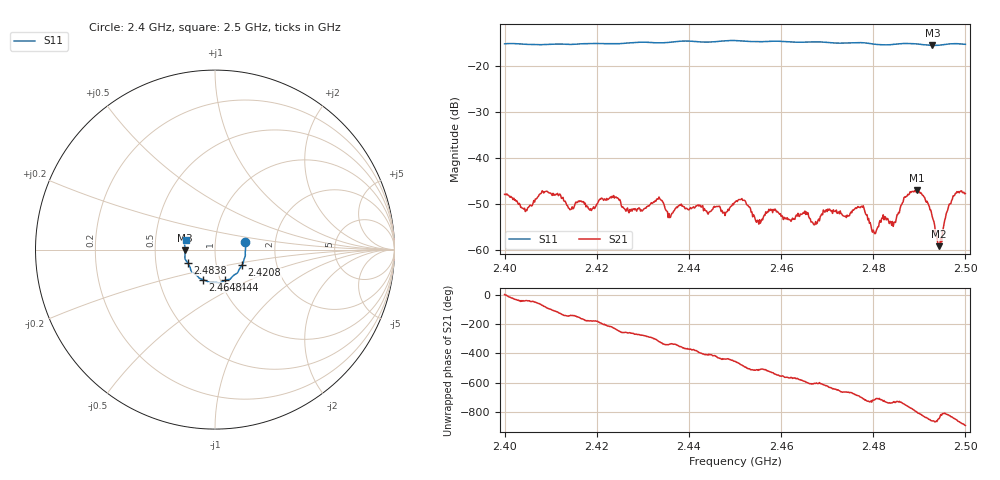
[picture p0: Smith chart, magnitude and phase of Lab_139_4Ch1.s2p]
# Hz S RI R 50
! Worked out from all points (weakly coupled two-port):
!   601 points, 2.4 GHz to 2.5 GHz, reference 50 ohm
!   highest |S21| = -47.11 dB at 2.4895 GHz (marker M1); lowest = -59.3 dB at 2.4942 GHz (marker M2)
!   lowest |S11| = -15.6 dB at 2.4928 GHz (marker M3), VSWR 1.40, Z = 35.8 - j0.35 ohm
!   |S11| at or under -10 dB: start of sweep to end of sweep
!   S12 and S22 are empty: the file has one direction only
!   S11 on the Smith chart (normalised r, x): 2.4 GHz: 1.40, +0.12; 2.4208 GHz: 1.33, -0.24; 2.444 GHz: 1.06, -0.37; 2.4648 GHz: 0.83, -0.29; 2.4838 GHz: 0.73, -0.11; 2.5 GHz: 0.72, +0.08
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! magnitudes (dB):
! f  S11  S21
! 2.4 GHz  -15.2  -48.0
! 2.4043 GHz  -15.3  -51.0
! 2.4087 GHz  -15.4  -47.4
! 2.4167 GHz  -15.2  -49.5
! 2.4208 GHz  -15.2  -49.1
! 2.4273 GHz  -15.0  -51.6
! 2.4333 GHz  -15.0  -49.0
! 2.4358 GHz  -14.9  -53.1
! 2.444 GHz  -14.9  -52.0
! 2.45 GHz  -14.5  -49.7
! 2.455 GHz  -14.8  -53.7
! 2.4648 GHz  -14.9  -51.9
! 2.4667 GHz  -14.8  -54.0
! 2.4773 GHz  -15.0  -50.7
! 2.4802 GHz  -15.3  -56.2
! 2.4833 GHz  -15.5  -53.8
! 2.4838 GHz  -15.4  -54.0
! 2.4895 GHz  -15.3  -47.1
! 2.4928 GHz  -15.6  -53.0
! 2.4942 GHz  -15.6  -59.3
! 2.4975 GHz  -15.2  -48.3
! 2.5 GHz  -15.4  -47.8
